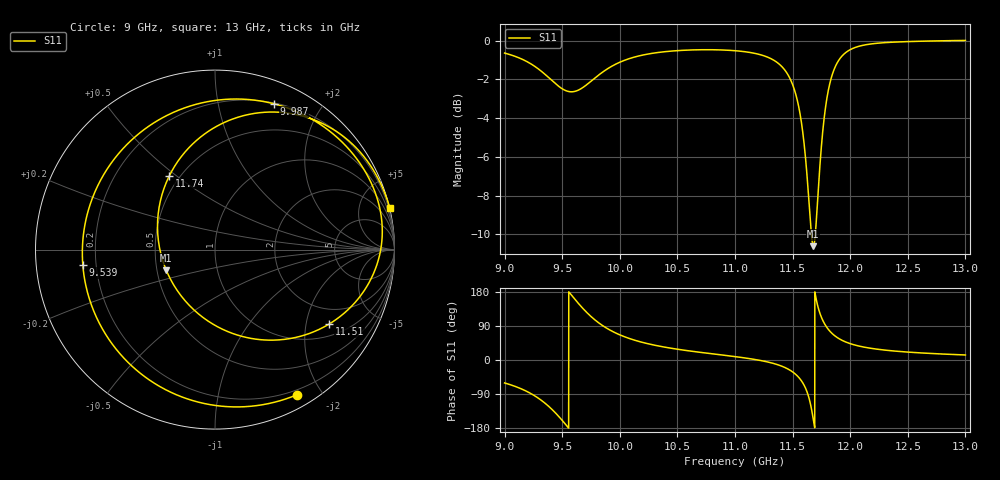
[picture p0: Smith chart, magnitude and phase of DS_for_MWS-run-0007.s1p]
! TOUCHSTONE file generated by CST DESIGN STUDIO
! Date and time: Tue Feb  4 17:51:56 2025
! Project name: C:\Work\MatlabApps\UnitCellOptimizationMatlab\CST\unitcell.cst
! Tree item: Tasks\Sweep1\SPara1\S-Parameters
! Header version: 2024
! Port assignment regex: !\s*Touchstone port\s*([0-9]+)\s*=\s*(CST MWS port|CST DES external port|CST DES block port)\s*(.+)\s* \(\"(.*)\"\)(\s*mode\s*([0-9]+))?.*
! Touchstone port assignment:
! Touchstone port 1 = CST DES external port 1 ("")
# GHz S MA R 50
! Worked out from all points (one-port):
!   4001 points, 9 GHz to 13 GHz, reference 50 ohm
!   lowest |S11| = -10.6 dB at 11.68 GHz (marker M1), VSWR 1.84, Z = 28 - j7.07 ohm
!   |S11| at or under -10 dB: 11.66334 GHz to 11.69697 GHz (33.63 MHz wide, 0.288 % of centre)
!   S11 on the Smith chart (normalised r, x): 9 GHz: 0.14, -1.70; 9.539 GHz: 0.15, -0.06; 9.987 GHz: 0.21, +1.46; 11.51 GHz: 1.39, -2.72; 11.74 GHz: 0.44, +0.47; 13 GHz: -0.04, +8.62
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9  0.9288 -60.6
9.149  0.8963 -76.7
9.299  0.8426 -102.1
9.4  0.7943 -127.1
9.5  0.7512 -159.3
9.539  0.7414 -173.5
9.631  0.7432 152.7
9.749  0.7852 115.0
9.853  0.8303 90.3
9.987  0.876 68.1
10  0.8796 66.4
10.214  0.9197 45.2
10.5  0.9422 28.4
11  0.9419 9.0
11.331  0.8921 -8.8
11.5  0.7702 -31.4
11.508  0.7588 -33.2
11.609  0.5098 -72.1
11.644  0.3768 -102.2
11.68  0.2949 -157.0
11.739  0.4844 121.6
11.781  0.6563 93.7
11.827  0.7837 74.8
11.905  0.8938 55.9
12  0.9476 43.2
12.186  0.981 30.6
12.5  0.9943 20.9
13  1.001 13.2
